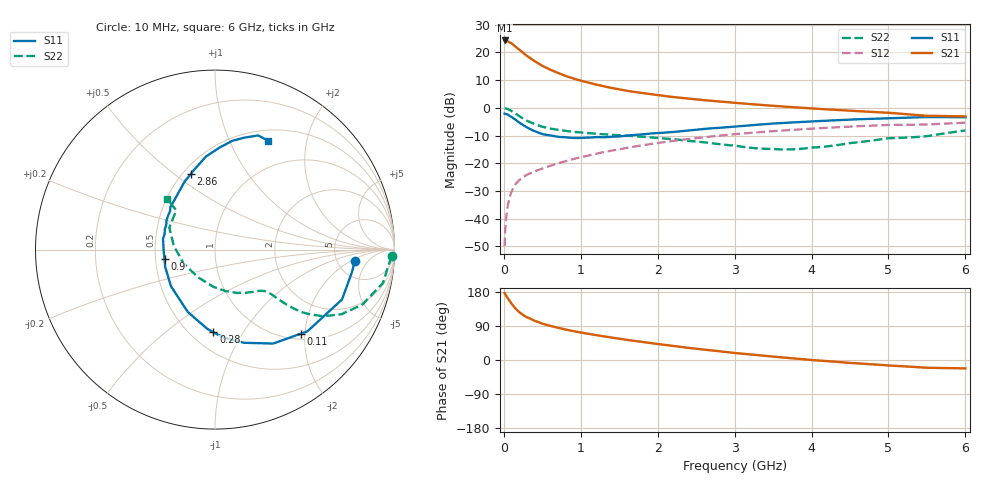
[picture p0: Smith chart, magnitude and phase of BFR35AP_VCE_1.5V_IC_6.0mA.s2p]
! Infineon Technologies  Discrete & RF Semiconductors
! BFR35AP
! VCE =  1.5 V,  IC =  6.0 mA
! Common Emitter S-Parameters:  Nov 2015
# GHz  S  MA  R  50
!  f  S11  S21  S12  S22
! GHz  MAG  ANG  MAG  ANG  MAG  ANG  MAG  ANG
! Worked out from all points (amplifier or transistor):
!   210 points, 10 MHz to 6 GHz, reference 50 ohm
!   highest |S21| = 24.3 dB at 10 MHz (marker M1)
!   |S21| within 3 dB of that: start of sweep to 187.4 MHz
!   unconditionally stable (mu >= 1): 680.3 MHz to 4.387 GHz; 5.13 GHz to end of sweep
!   at 185 MHz: K = 0.44, MSG = 23.9 dB, |S12| = -26.5 dB
!   at 1.52 GHz: K = 1.15, MAG = 8.3 dB, |S12| = -14.8 dB
!   at 6 GHz: K = 1.01, MAG = 0.6 dB, |S12| = -5.4 dB
!   S11 on the Smith chart (normalised r, x): 10 MHz: 7.35, -2.36; 110 MHz: 1.12, -1.90; 280 MHz: 0.64, -0.75; 900 MHz: 0.56, -0.07; 2.86 GHz: 0.55, +0.57; 6 GHz: 0.63, +1.40
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0.01  0.7807 -4.6  16.34 176.7  0.0032 87.8  0.9846 -2.2
0.025  0.7695 -10.9  15.99 171.5  0.0084 84.4  0.9691 -5.6
0.05  0.7604 -21.4  15.83 163.3  0.0168 79.2  0.9545 -11.2
0.1  0.6874 -41.5  14.54 148.5  0.0309 70.5  0.8765 -20.5
0.11  0.6687 -44.5  14.13 146.3  0.033 68.7  0.8582 -21.7
0.15  0.6154 -58.3  12.71 135.9  0.0418 63.5  0.7892 -27.2
0.2  0.5434 -72.8  11.23 126.3  0.0496 59.3  0.7074 -31.7
0.24  0.4975 -82.6  10.09 120.2  0.0547 57.3  0.6499 -33.9
0.28  0.4604 -91.1  9.081 115.1  0.0596 56.2  0.6046 -35.5
0.3  0.4445 -95.4  8.609 112.6  0.062 55.8  0.5839 -36.2
0.4  0.3793 -113.5  6.932 103.4  0.0715 54.7  0.5077 -37.5
0.5  0.3355 -128.0  5.702 95.9  0.0801 54.9  0.4546 -38.0
0.7  0.3004 -150.9  4.247 85.0  0.0992 56.3  0.4004 -38.4
0.9  0.2863 -169.1  3.375 76.2  0.1188 56.6  0.3688 -39.3
1.02  0.2864 -179.7  3.027 71.8  0.1303 56.8  0.3561 -40.4
1.4  0.3017 157.8  2.275 59.3  0.1689 55.7  0.327 -45.4
2.02  0.351 131.8  1.673 41.7  0.2337 51.0  0.2837 -58.0
2.86  0.4416 107.9  1.278 21.8  0.3203 41.7  0.2159 -86.1
3.1  0.4693 102.9  1.197 16.7  0.3428 38.4  0.1981 -97.9
4.1  0.5765 86.2  0.954 -1.4  0.4285 25.3  0.195 -163.5
5.1  0.6521 73.9  0.792 -15.5  0.4911 11.5  0.2845 150.1
6  0.6754 64.1  0.699 -22.1  0.5391 1.7  0.3902 133.4
